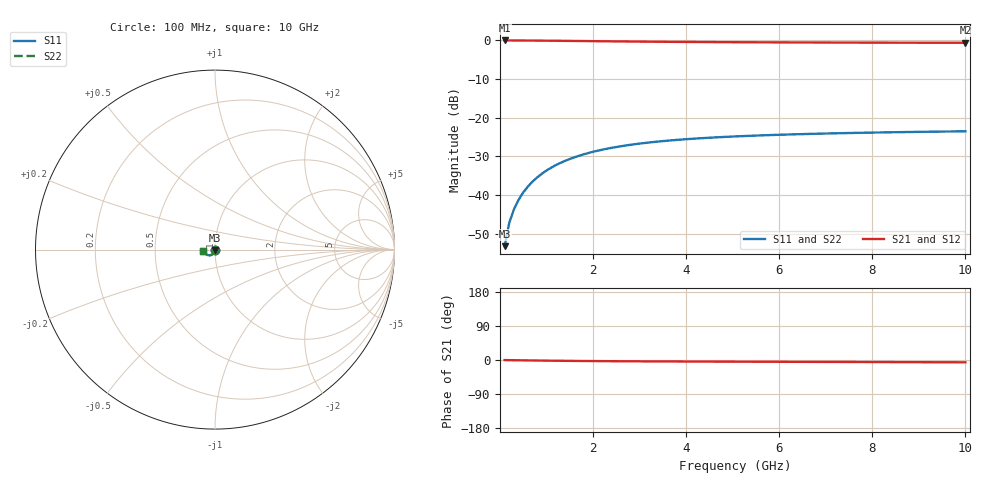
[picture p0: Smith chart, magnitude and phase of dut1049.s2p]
! Touchstone file exported from HFSS 2024.1.0
!  File:  C:/UserFiles/LocalFiles/RDL_TSV_Batchsim/temp_TSV1_1049_1780062458.aedt
!  Generated:  09:51:42 PM May 29, 2026
!  Design:  TSV1
!  Project:  temp_TSV1_1049_1780062458
!  Setup:  Setup1
!  Solution:  Sweep
! Variables:
!  dtsv = 14.76um
!  hbump = 3um
!  htsv = 94.87um
!  lrdl = 252.1521522um
!  p = 40
!  p1 = 59.58um
!  t = 500um
!  trdl = 3um
!  wrdl = 24.89489489um
# GHz S MA R 50.000000
! Terminal data exported
! Port[1] = TSV22_T1
! Port[2] = TSV22_T2
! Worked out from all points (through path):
!   100 points, 100 MHz to 10 GHz, reference 50 ohm
!   highest |S21| = 0.00 dB at 100 MHz (marker M1); lowest = -0.6 dB at 10 GHz (marker M2)
!   lowest |S11| = -53.3 dB at 100 MHz (marker M3), VSWR 1.00, Z = 50 - j0.217 ohm
!   |S11| at or under -10 dB: start of sweep to end of sweep
!   |S22| runs from -53.3 to -23.5 dB; largest |S21 - S12| = 5.1e-15
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0.1  0.002169 -89.7  0.9998 -0.2  0.9998 -0.2  0.002169 -89.7
! Gamma 0 0 0 0
! Port Impedance 50 0 50 0
0.2  0.004337 -92.8  0.9996 -0.4  0.9996 -0.4  0.004337 -92.8
0.3  0.006498 -95.1  0.9992 -0.5  0.9992 -0.5  0.006498 -95.1
0.4  0.00864 -97.3  0.9986 -0.7  0.9986 -0.7  0.00864 -97.3
0.5  0.01076 -99.4  0.998 -0.9  0.998 -0.9  0.01076 -99.4
0.6  0.01284 -101.5  0.9972 -1.1  0.9972 -1.1  0.01284 -101.5
0.7  0.01487 -103.5  0.9963 -1.2  0.9963 -1.2  0.01487 -103.5
0.8  0.01686 -105.5  0.9953 -1.4  0.9953 -1.4  0.01686 -105.5
0.9  0.0188 -107.4  0.9942 -1.5  0.9942 -1.5  0.0188 -107.4
1.1  0.02251 -111.1  0.9918 -1.8  0.9918 -1.8  0.02251 -111.1
1.4  0.02761 -116.3  0.9877 -2.2  0.9877 -2.2  0.02761 -116.3
1.6  0.0307 -119.6  0.9849 -2.4  0.9849 -2.4  0.0307 -119.6
1.8  0.03354 -122.6  0.9821 -2.6  0.9821 -2.6  0.03354 -122.6
2.1  0.03737 -126.9  0.9778 -2.9  0.9778 -2.9  0.03737 -126.9
2.5  0.04173 -132.0  0.9725 -3.2  0.9725 -3.2  0.04173 -132.0
2.9  0.04536 -136.5  0.9676 -3.5  0.9676 -3.5  0.04536 -136.5
3.4  0.04909 -141.4  0.9621 -3.7  0.9621 -3.7  0.04909 -141.4
4.2  0.05364 -147.9  0.955 -4.1  0.955 -4.1  0.05364 -147.9
5.1  0.05735 -153.9  0.9489 -4.4  0.9489 -4.4  0.05735 -153.9
6.7  0.06174 -162.1  0.9413 -5.0  0.9413 -5.0  0.06174 -162.1
8.4  0.06471 -168.8  0.9362 -5.5  0.9362 -5.5  0.06471 -168.8
10  0.06664 -174.0  0.9329 -6.1  0.9329 -6.1  0.06665 -174.0
